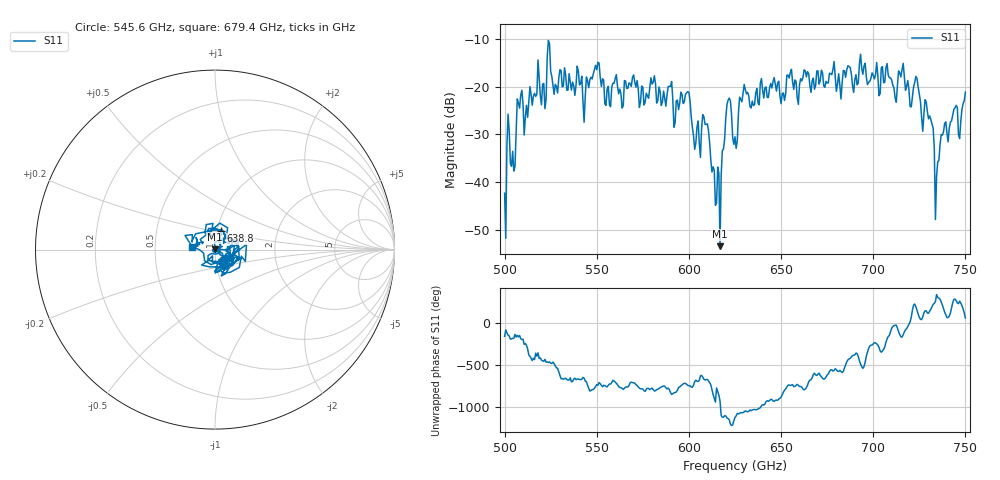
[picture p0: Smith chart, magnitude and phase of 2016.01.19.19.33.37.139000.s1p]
!Created with skrf (http://scikit-rf.org).
# GHz S RI R 50.0
!freq ReS11 ImS11
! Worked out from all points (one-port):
!   401 points, 500 GHz to 750 GHz, reference 50 ohm
!   lowest |S11| = -53.5 dB at 616.9 GHz (marker M1), VSWR 1.00, Z = 49.8 + j0.1 ohm
!   |S11| at or under -10 dB: start of sweep to end of sweep
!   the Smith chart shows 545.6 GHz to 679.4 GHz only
!   S11 on the Smith chart (normalised r, x): 545.6 GHz: 1.09, -0.18; 638.8 GHz: 1.05, +0.22; 679.4 GHz: 0.78, +0.02
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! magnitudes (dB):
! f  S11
! 500 GHz  -42.4
! 502.5 GHz  -29.3
! 505 GHz  -37.7
! 508.1 GHz  -24.5
! 521.2 GHz  -19.3
! 524.4 GHz  -10.9
! 527.5 GHz  -19.5
! 531.2 GHz  -20.0
! 545.6 GHz  -20.2
! 562.5 GHz  -20.5
! 580.6 GHz  -19.0
! 593.8 GHz  -22.8
! 605 GHz  -27.2
! 608.8 GHz  -27.9
! 615.6 GHz  -36.9
! 616.9 GHz  -53.5
! 621.2 GHz  -22.8
! 625 GHz  -30.5
! 628.8 GHz  -23.1
! 638.8 GHz  -19.2
! 656.2 GHz  -19.0
! 679.4 GHz  -18.0
! 687.5 GHz  -15.9
! 718.8 GHz  -18.7
! 729.4 GHz  -25.2
! 734.4 GHz  -38.8
! 738.1 GHz  -29.5
! 750 GHz  -21.1
